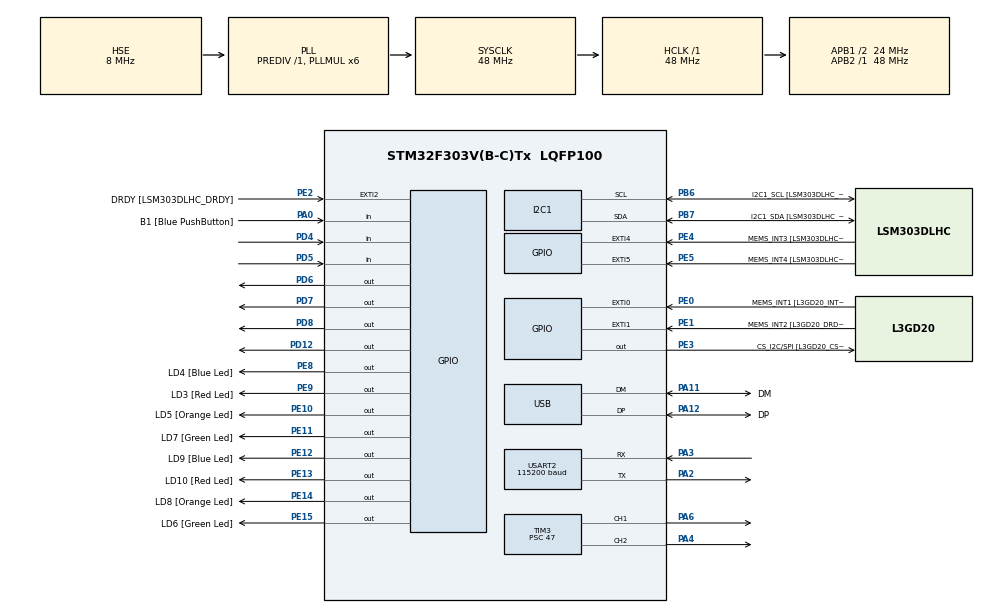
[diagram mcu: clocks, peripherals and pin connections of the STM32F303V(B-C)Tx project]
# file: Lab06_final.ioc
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I2C1.Timing=0x2000090E
I2C1.Timing-I2C=0x2000090E
Mcu.Family=STM32F3
Mcu.Name=STM32F303V(B-C)Tx
Mcu.Package=LQFP100
NVIC.PriorityGroup=NVIC_PRIORITYGROUP_0
NVIC.USB_LP_CAN_RX0_IRQn=true\:0\:0\:false\:false\:true\:false\:true\:true
PA0.GPIO_Label=B1 [Blue PushButton]
PA0.Signal=GPIO_Input
PA11.GPIO_Label=DM
PA11.Mode=Device
PA11.Signal=USB_DM
PA12.GPIO_Label=DP
PA12.Mode=Device
PA12.Signal=USB_DP
PA13.GPIO_Label=SWDIO
PA13.Mode=Serial_Wire
PA13.Signal=SYS_JTMS-SWDIO
PA14.GPIO_Label=SWCLK
PA14.Mode=Serial_Wire
PA14.Signal=SYS_JTCK-SWCLK
PA2.Mode=Asynchronous
PA2.Signal=USART2_TX
PA3.Mode=Asynchronous
PA3.Signal=USART2_RX
PA4.Signal=S_TIM3_CH2
PA5.GPIO_Label=SPI1_SCK [L3GD20_SCL/SPC]
PA5.Signal=SPI1_SCK
PA6.Signal=S_TIM3_CH1
PA7.GPIO_Label=SPI1_MISO [L3GD20_SDA/SDI/SDO]
PA7.Signal=SPI1_MOSI
PB3.GPIO_Label=SWO
PB3.Signal=SYS_JTDO-TRACESWO
PB6.GPIO_Label=I2C1_SCL [LSM303DLHC_SCL]
PB6.GPIO_Pu=GPIO_PULLUP
PB6.Mode=I2C
PB6.Signal=I2C1_SCL
PB7.GPIO_Label=I2C1_SDA [LSM303DLHC_SDA]
PB7.GPIO_Pu=GPIO_PULLUP
PB7.Mode=I2C
PB7.Signal=I2C1_SDA
PC14-OSC32_IN.GPIO_Label=OSC32_IN
PC14-OSC32_IN.Signal=RCC_OSC32_IN
PC15-OSC32_OUT.GPIO_Label=OSC32_OUT
PC15-OSC32_OUT.Signal=RCC_OSC32_OUT
PD12.Signal=GPIO_Output
PD4.Signal=GPIO_Input
PD5.Signal=GPIO_Input
PD6.Signal=GPIO_Output
PD7.Signal=GPIO_Output
PD8.Signal=GPIO_Output
PE0.GPIO_Label=MEMS_INT1 [L3GD20_INT1]
PE0.GPIO_ModeDefaultEXTI=GPIO_MODE_EVT_RISING
PE0.Signal=GPXTI0
PE1.GPIO_Label=MEMS_INT2 [L3GD20_DRDY/INT2]
PE1.GPIO_ModeDefaultEXTI=GPIO_MODE_EVT_RISING
PE1.Signal=GPXTI1
PE10.GPIO_Label=LD5 [Orange Led]
PE10.Signal=GPIO_Output
PE11.GPIO_Label=LD7 [Green Led]
PE11.Signal=GPIO_Output
PE12.GPIO_Label=LD9 [Blue Led]
PE12.Signal=GPIO_Output
PE13.GPIO_Label=LD10 [Red Led]
PE13.Signal=GPIO_Output
PE14.GPIO_Label=LD8 [Orange Led]
PE14.Signal=GPIO_Output
PE15.GPIO_Label=LD6 [Green Led]
PE15.Signal=GPIO_Output
PE2.GPIO_Label=DRDY [LSM303DLHC_DRDY]
PE2.GPIO_ModeDefaultEXTI=GPIO_MODE_EVT_RISING
PE2.Signal=GPXTI2
PE3.GPIO_Label=CS_I2C/SPI [L3GD20_CS_I2C/SPI]
PE3.Signal=GPIO_Output
PE4.GPIO_Label=MEMS_INT3 [LSM303DLHC_INT1]
PE4.GPIO_ModeDefaultEXTI=GPIO_MODE_EVT_RISING
PE4.Signal=GPXTI4
PE5.GPIO_Label=MEMS_INT4 [LSM303DLHC_INT2]
PE5.GPIO_ModeDefaultEXTI=GPIO_MODE_EVT_RISING
PE5.Signal=GPXTI5
PE8.GPIO_Label=LD4 [Blue Led]
PE8.Signal=GPIO_Output
PE9.GPIO_Label=LD3 [Red Led]
PE9.Signal=GPIO_Output
PF0-OSC_IN.GPIO_Label=OSC_IN
PF0-OSC_IN.Mode=HSE-External-Clock-Source
PF0-OSC_IN.Signal=RCC_OSC_IN
PF1-OSC_OUT.GPIO_Label=OSC_OUT
PF1-OSC_OUT.Signal=RCC_OSC_OUT
ProjectManager.HeapSize=0x200
ProjectManager.StackSize=0x400
ProjectManager.TargetToolchain=CMake
RCC.AHBFreq_Value=48000000
RCC.APB1CLKDivider=RCC_HCLK_DIV2
RCC.APB1Freq_Value=24000000
RCC.APB1TimFreq_Value=48000000
RCC.APB2Freq_Value=48000000
RCC.APB2TimFreq_Value=48000000
RCC.CortexFreq_Value=48000000
RCC.HCLKFreq_Value=48000000
RCC.HSE_VALUE=8000000
RCC.HSI_VALUE=8000000
RCC.LSE_VALUE=32768
RCC.PLLMUL=RCC_PLL_MUL6
RCC.SYSCLKFreq_VALUE=48000000
RCC.SYSCLKSourceVirtual=RCC_SYSCLKSOURCE_PLLCLK
RCC.USBFreq_Value=48000000
SH.S_TIM3_CH1.0=TIM3_CH1,PWM Generation1 CH1
SH.S_TIM3_CH2.0=TIM3_CH2,PWM Generation2 CH2
TIM2.Period=4294967295
TIM2.Prescaler=47
TIM3.Channel-PWM\ Generation1\ CH1=TIM_CHANNEL_1
TIM3.Channel-PWM\ Generation2\ CH2=TIM_CHANNEL_2
TIM3.Period=999
TIM3.Prescaler=47
TIM3.Pulse-PWM\ Generation1\ CH1=0
TIM3.Pulse-PWM\ Generation2\ CH2=0
USART2.BaudRate=115200
USART2.VirtualMode-Asynchronous=VM_ASYNC
USB_DEVICE.CLASS_NAME_FS=CDC
USB_DEVICE.VirtualMode=Cdc
USB_DEVICE.VirtualModeFS=Cdc_FS
VP_TIM2_VS_ClockSourceINT.Mode=Internal
VP_USB_DEVICE_VS_USB_DEVICE_CDC_FS.Mode=CDC_FS
board=STM32F3DISCOVERY

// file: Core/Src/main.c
/* USER CODE BEGIN Header */
/**
  ******************************************************************************
  * @file           : main.c
  * @brief          : Main program body
  ******************************************************************************
  * @attention
  *
  * Copyright (c) 2026 STMicroelectronics.
  * All rights reserved.
  *
  * This software is licensed under terms that can be found in the LICENSE file
  * in the root directory of this software component.
  * If no LICENSE file comes with this software, it is provided AS-IS.
  *
  ******************************************************************************
  */
/* USER CODE END Header */
#include "main.h"
#include "usb_device.h"

/* USER CODE BEGIN Includes */
#include <stdint.h>
#include "stdarg.h"
#include "stdio.h"
#include "stm32f3xx_hal.h"
#include "string.h"
#include "math.h"
/* USER CODE END Includes */

I2C_HandleTypeDef hi2c1;

TIM_HandleTypeDef htim2;
TIM_HandleTypeDef htim3;

UART_HandleTypeDef huart2;

void SystemClock_Config(void);
static void MX_GPIO_Init(void);
static void MX_I2C1_Init(void);
static void MX_USART2_UART_Init(void);
static void MX_TIM2_Init(void);
static void MX_TIM3_Init(void);

/* USER CODE BEGIN 0 */
void RightMotor_Backward(uint16_t speed);
void RightMotor_Forward(uint16_t speed);
void RightMotor_Stop(void);
void LeftMotor_Forward(uint16_t speed);
void LeftMotor_Backward(uint16_t speed);
void LeftMotor_Stop(void);
void myPrintf(const char *fmt, ...);
#define PPR 330
/* USER CODE END 0 */

int main(void)
{

  /* MCU Configuration--------------------------------------------------------*/

  /* Reset of all peripherals, Initializes the Flash interface and the Systick. */
  HAL_Init();

  /* Configure the system clock */
  SystemClock_Config();

  /* Initialize all configured peripherals */
  MX_GPIO_Init();
  MX_I2C1_Init();
  MX_USART2_UART_Init();
  MX_USB_DEVICE_Init();
  MX_TIM2_Init();
  MX_TIM3_Init();
  /* USER CODE BEGIN 2 */
  HAL_TIM_PWM_Start(&htim3, TIM_CHANNEL_1);
  HAL_TIM_PWM_Start(&htim3, TIM_CHANNEL_2);
  HAL_TIM_Base_Start_IT(&htim2);
  /* USER CODE END 2 */

  /* Infinite loop */
  /* USER CODE BEGIN WHILE */
  while (1)
  {
    //myPrintf("Hello\r\n");
    LeftMotor_Forward(999);
    RightMotor_Forward(999);
    uint32_t t1,t2;
   // HAL_UART_Transmit(&huart2, (uint8_t *)"Help", 10, 100);
    while (HAL_GPIO_ReadPin(GPIOD, GPIO_PIN_4) == GPIO_PIN_SET);

    while (HAL_GPIO_ReadPin(GPIOD, GPIO_PIN_4) == GPIO_PIN_RESET){
    t1 = __HAL_TIM_GET_COUNTER(&htim2);}

    while (HAL_GPIO_ReadPin(GPIOD, GPIO_PIN_4) == GPIO_PIN_SET);

    while (HAL_GPIO_ReadPin(GPIOD, GPIO_PIN_4) == GPIO_PIN_RESET){
    t2 = __HAL_TIM_GET_COUNTER(&htim2);}

    uint32_t t = t2 - t1;
    float freq = 1000000.0 / t;
    uint32_t rpm = (60 * freq) / PPR;
    myPrintf("t1: %lu, t2: %lu, t: %lu, freq: %.2f, rpm: %lu\r\n", t1, t2, t, freq, rpm);

    /* USER CODE END WHILE */

  }
}

void SystemClock_Config(void)
{
  RCC_OscInitTypeDef RCC_OscInitStruct = {0};
  RCC_ClkInitTypeDef RCC_ClkInitStruct = {0};
  RCC_PeriphCLKInitTypeDef PeriphClkInit = {0};

  /** Initializes the RCC Oscillators according to the specified parameters
  * in the RCC_OscInitTypeDef structure.
  */
  RCC_OscInitStruct.OscillatorType = RCC_OSCILLATORTYPE_HSI|RCC_OSCILLATORTYPE_HSE;
  RCC_OscInitStruct.HSEState = RCC_HSE_BYPASS;
  RCC_OscInitStruct.HSEPredivValue = RCC_HSE_PREDIV_DIV1;
  RCC_OscInitStruct.HSIState = RCC_HSI_ON;
  RCC_OscInitStruct.HSICalibrationValue = RCC_HSICALIBRATION_DEFAULT;
  RCC_OscInitStruct.PLL.PLLState = RCC_PLL_ON;
  RCC_OscInitStruct.PLL.PLLSource = RCC_PLLSOURCE_HSE;
  RCC_OscInitStruct.PLL.PLLMUL = RCC_PLL_MUL6;
  if (HAL_RCC_OscConfig(&RCC_OscInitStruct) != HAL_OK)
  {
    Error_Handler();
  }

  /** Initializes the CPU, AHB and APB buses clocks
  */
  RCC_ClkInitStruct.ClockType = RCC_CLOCKTYPE_HCLK|RCC_CLOCKTYPE_SYSCLK
                              |RCC_CLOCKTYPE_PCLK1|RCC_CLOCKTYPE_PCLK2;
  RCC_ClkInitStruct.SYSCLKSource = RCC_SYSCLKSOURCE_PLLCLK;
  RCC_ClkInitStruct.AHBCLKDivider = RCC_SYSCLK_DIV1;
  RCC_ClkInitStruct.APB1CLKDivider = RCC_HCLK_DIV2;
  RCC_ClkInitStruct.APB2CLKDivider = RCC_HCLK_DIV1;

  if (HAL_RCC_ClockConfig(&RCC_ClkInitStruct, FLASH_LATENCY_1) != HAL_OK)
  {
    Error_Handler();
  }
  PeriphClkInit.PeriphClockSelection = RCC_PERIPHCLK_USB|RCC_PERIPHCLK_USART2
                              |RCC_PERIPHCLK_I2C1;
  PeriphClkInit.Usart2ClockSelection = RCC_USART2CLKSOURCE_PCLK1;
  PeriphClkInit.I2c1ClockSelection = RCC_I2C1CLKSOURCE_HSI;
  PeriphClkInit.USBClockSelection = RCC_USBCLKSOURCE_PLL;
  if (HAL_RCCEx_PeriphCLKConfig(&PeriphClkInit) != HAL_OK)
  {
    Error_Handler();
  }
}

static void MX_I2C1_Init(void)
{

  hi2c1.Instance = I2C1;
  hi2c1.Init.Timing = 0x2000090E;
  hi2c1.Init.OwnAddress1 = 0;
  hi2c1.Init.AddressingMode = I2C_ADDRESSINGMODE_7BIT;
  hi2c1.Init.DualAddressMode = I2C_DUALADDRESS_DISABLE;
  hi2c1.Init.OwnAddress2 = 0;
  hi2c1.Init.OwnAddress2Masks = I2C_OA2_NOMASK;
  hi2c1.Init.GeneralCallMode = I2C_GENERALCALL_DISABLE;
  hi2c1.Init.NoStretchMode = I2C_NOSTRETCH_DISABLE;
  if (HAL_I2C_Init(&hi2c1) != HAL_OK)
  {
    Error_Handler();
  }

  /** Configure Analogue filter
  */
  if (HAL_I2CEx_ConfigAnalogFilter(&hi2c1, I2C_ANALOGFILTER_ENABLE) != HAL_OK)
  {
    Error_Handler();
  }

  /** Configure Digital filter
  */
  if (HAL_I2CEx_ConfigDigitalFilter(&hi2c1, 0) != HAL_OK)
  {
    Error_Handler();
  }

}

static void MX_TIM2_Init(void)
{

  TIM_ClockConfigTypeDef sClockSourceConfig = {0};
  TIM_MasterConfigTypeDef sMasterConfig = {0};

  htim2.Instance = TIM2;
  htim2.Init.Prescaler = 47;
  htim2.Init.CounterMode = TIM_COUNTERMODE_UP;
  htim2.Init.Period = 4294967295;
  htim2.Init.ClockDivision = TIM_CLOCKDIVISION_DIV1;
  htim2.Init.AutoReloadPreload = TIM_AUTORELOAD_PRELOAD_DISABLE;
  if (HAL_TIM_Base_Init(&htim2) != HAL_OK)
  {
    Error_Handler();
  }
  sClockSourceConfig.ClockSource = TIM_CLOCKSOURCE_INTERNAL;
  if (HAL_TIM_ConfigClockSource(&htim2, &sClockSourceConfig) != HAL_OK)
  {
    Error_Handler();
  }
  sMasterConfig.MasterOutputTrigger = TIM_TRGO_RESET;
  sMasterConfig.MasterSlaveMode = TIM_MASTERSLAVEMODE_DISABLE;
  if (HAL_TIMEx_MasterConfigSynchronization(&htim2, &sMasterConfig) != HAL_OK)
  {
    Error_Handler();
  }

}

static void MX_TIM3_Init(void)
{

  TIM_MasterConfigTypeDef sMasterConfig = {0};
  TIM_OC_InitTypeDef sConfigOC = {0};

  htim3.Instance = TIM3;
  htim3.Init.Prescaler = 47;
  htim3.Init.CounterMode = TIM_COUNTERMODE_UP;
  htim3.Init.Period = 999;
  htim3.Init.ClockDivision = TIM_CLOCKDIVISION_DIV1;
  htim3.Init.AutoReloadPreload = TIM_AUTORELOAD_PRELOAD_DISABLE;
  if (HAL_TIM_PWM_Init(&htim3) != HAL_OK)
  {
    Error_Handler();
  }
  sMasterConfig.MasterOutputTrigger = TIM_TRGO_RESET;
  sMasterConfig.MasterSlaveMode = TIM_MASTERSLAVEMODE_DISABLE;
  if (HAL_TIMEx_MasterConfigSynchronization(&htim3, &sMasterConfig) != HAL_OK)
  {
    Error_Handler();
  }
  sConfigOC.OCMode = TIM_OCMODE_PWM1;
  sConfigOC.Pulse = 0;
  sConfigOC.OCPolarity = TIM_OCPOLARITY_HIGH;
  sConfigOC.OCFastMode = TIM_OCFAST_DISABLE;
  if (HAL_TIM_PWM_ConfigChannel(&htim3, &sConfigOC, TIM_CHANNEL_1) != HAL_OK)
  {
    Error_Handler();
  }
  if (HAL_TIM_PWM_ConfigChannel(&htim3, &sConfigOC, TIM_CHANNEL_2) != HAL_OK)
  {
    Error_Handler();
  }
  HAL_TIM_MspPostInit(&htim3);

}

static void MX_USART2_UART_Init(void)
{

  huart2.Instance = USART2;
  huart2.Init.BaudRate = 115200;
  huart2.Init.WordLength = UART_WORDLENGTH_8B;
  huart2.Init.StopBits = UART_STOPBITS_1;
  huart2.Init.Parity = UART_PARITY_NONE;
  huart2.Init.Mode = UART_MODE_TX_RX;
  huart2.Init.HwFlowCtl = UART_HWCONTROL_NONE;
  huart2.Init.OverSampling = UART_OVERSAMPLING_16;
  huart2.Init.OneBitSampling = UART_ONE_BIT_SAMPLE_DISABLE;
  huart2.AdvancedInit.AdvFeatureInit = UART_ADVFEATURE_NO_INIT;
  if (HAL_UART_Init(&huart2) != HAL_OK)
  {
    Error_Handler();
  }

}

static void MX_GPIO_Init(void)
{
  GPIO_InitTypeDef GPIO_InitStruct = {0};

  /* GPIO Ports Clock Enable */
  __HAL_RCC_GPIOE_CLK_ENABLE();
  __HAL_RCC_GPIOC_CLK_ENABLE();
  __HAL_RCC_GPIOF_CLK_ENABLE();
  __HAL_RCC_GPIOA_CLK_ENABLE();
  __HAL_RCC_GPIOD_CLK_ENABLE();
  __HAL_RCC_GPIOB_CLK_ENABLE();

  /*Configure GPIO pin Output Level */
  HAL_GPIO_WritePin(GPIOE, CS_I2C_SPI_Pin|LD4_Pin|LD3_Pin|LD5_Pin
                          |LD7_Pin|LD9_Pin|LD10_Pin|LD8_Pin
                          |LD6_Pin, GPIO_PIN_RESET);

  /*Configure GPIO pin Output Level */
  HAL_GPIO_WritePin(GPIOD, GPIO_PIN_8|GPIO_PIN_12|GPIO_PIN_6|GPIO_PIN_7, GPIO_PIN_RESET);

  /*Configure GPIO pins : DRDY_Pin MEMS_INT3_Pin MEMS_INT4_Pin MEMS_INT1_Pin
                           MEMS_INT2_Pin */
  GPIO_InitStruct.Pin = DRDY_Pin|MEMS_INT3_Pin|MEMS_INT4_Pin|MEMS_INT1_Pin
                          |MEMS_INT2_Pin;
  GPIO_InitStruct.Mode = GPIO_MODE_EVT_RISING;
  GPIO_InitStruct.Pull = GPIO_NOPULL;
  HAL_GPIO_Init(GPIOE, &GPIO_InitStruct);

  /*Configure GPIO pins : CS_I2C_SPI_Pin LD4_Pin LD3_Pin LD5_Pin
                           LD7_Pin LD9_Pin LD10_Pin LD8_Pin
                           LD6_Pin */
  GPIO_InitStruct.Pin = CS_I2C_SPI_Pin|LD4_Pin|LD3_Pin|LD5_Pin
                          |LD7_Pin|LD9_Pin|LD10_Pin|LD8_Pin
                          |LD6_Pin;
  GPIO_InitStruct.Mode = GPIO_MODE_OUTPUT_PP;
  GPIO_InitStruct.Pull = GPIO_NOPULL;
  GPIO_InitStruct.Speed = GPIO_SPEED_FREQ_LOW;
  HAL_GPIO_Init(GPIOE, &GPIO_InitStruct);

  /*Configure GPIO pin : B1_Pin */
  GPIO_InitStruct.Pin = B1_Pin;
  GPIO_InitStruct.Mode = GPIO_MODE_INPUT;
  GPIO_InitStruct.Pull = GPIO_NOPULL;
  HAL_GPIO_Init(B1_GPIO_Port, &GPIO_InitStruct);

  /*Configure GPIO pins : SPI1_SCK_Pin SPI1_MISO_Pin */
  GPIO_InitStruct.Pin = SPI1_SCK_Pin|SPI1_MISO_Pin;
  GPIO_InitStruct.Mode = GPIO_MODE_AF_PP;
  GPIO_InitStruct.Pull = GPIO_NOPULL;
  GPIO_InitStruct.Speed = GPIO_SPEED_FREQ_HIGH;
  GPIO_InitStruct.Alternate = GPIO_AF5_SPI1;
  HAL_GPIO_Init(GPIOA, &GPIO_InitStruct);

  /*Configure GPIO pins : PD8 PD12 PD6 PD7 */
  GPIO_InitStruct.Pin = GPIO_PIN_8|GPIO_PIN_12|GPIO_PIN_6|GPIO_PIN_7;
  GPIO_InitStruct.Mode = GPIO_MODE_OUTPUT_PP;
  GPIO_InitStruct.Pull = GPIO_NOPULL;
  GPIO_InitStruct.Speed = GPIO_SPEED_FREQ_LOW;
  HAL_GPIO_Init(GPIOD, &GPIO_InitStruct);

  /*Configure GPIO pins : PD4 PD5 */
  GPIO_InitStruct.Pin = GPIO_PIN_4|GPIO_PIN_5;
  GPIO_InitStruct.Mode = GPIO_MODE_INPUT;
  GPIO_InitStruct.Pull = GPIO_NOPULL;
  HAL_GPIO_Init(GPIOD, &GPIO_InitStruct);

}

/* USER CODE BEGIN 4 */
void RightMotor_Forward(uint16_t speed)
{
HAL_GPIO_WritePin(GPIOD, GPIO_PIN_8, GPIO_PIN_SET); // D8 HIGH
HAL_GPIO_WritePin(GPIOD, GPIO_PIN_12, GPIO_PIN_RESET); // D12 LOW

__HAL_TIM_SET_COMPARE(&htim3, TIM_CHANNEL_1, speed); // PWM speed
}

void RightMotor_Backward(uint16_t speed)
{
HAL_GPIO_WritePin(GPIOD, GPIO_PIN_8, GPIO_PIN_RESET); // D8 LOW
HAL_GPIO_WritePin(GPIOD, GPIO_PIN_12, GPIO_PIN_SET); // D12 HIGH

__HAL_TIM_SET_COMPARE(&htim3, TIM_CHANNEL_1, speed);
}

void RightMotor_Stop()
{
HAL_GPIO_WritePin(GPIOD, GPIO_PIN_8, GPIO_PIN_RESET);
HAL_GPIO_WritePin(GPIOD, GPIO_PIN_12, GPIO_PIN_RESET);

__HAL_TIM_SET_COMPARE(&htim3, TIM_CHANNEL_1, 0);
}

void LeftMotor_Forward(uint16_t speed)
{
HAL_GPIO_WritePin(GPIOD, GPIO_PIN_7, GPIO_PIN_SET); // D7 HIGH
HAL_GPIO_WritePin(GPIOD, GPIO_PIN_6, GPIO_PIN_RESET); // D6 LOW

__HAL_TIM_SET_COMPARE(&htim3, TIM_CHANNEL_2, speed); // PWM speed
}

void LeftMotor_Backward(uint16_t speed)
{
HAL_GPIO_WritePin(GPIOD, GPIO_PIN_7, GPIO_PIN_RESET); // D7 LOW
HAL_GPIO_WritePin(GPIOD, GPIO_PIN_6, GPIO_PIN_SET); // D6 HIGH

__HAL_TIM_SET_COMPARE(&htim3, TIM_CHANNEL_2, speed);
}

void LeftMotor_Stop(void)
{
HAL_GPIO_WritePin(GPIOD, GPIO_PIN_7, GPIO_PIN_RESET);
HAL_GPIO_WritePin(GPIOD, GPIO_PIN_6, GPIO_PIN_RESET);

__HAL_TIM_SET_COMPARE(&htim3, TIM_CHANNEL_2, 0);
}

void myPrintf(const char *fmt, ...)
{
char buffer[256];
va_list argument;
va_start(argument, fmt);
vsnprintf(buffer, sizeof(buffer), fmt, argument);
HAL_UART_Transmit(&huart2, (uint8_t*)buffer, strlen(buffer), 100);
}
/* USER CODE END 4 */

void Error_Handler(void)
{
  __disable_irq();
  while (1)
  {
  }
}
